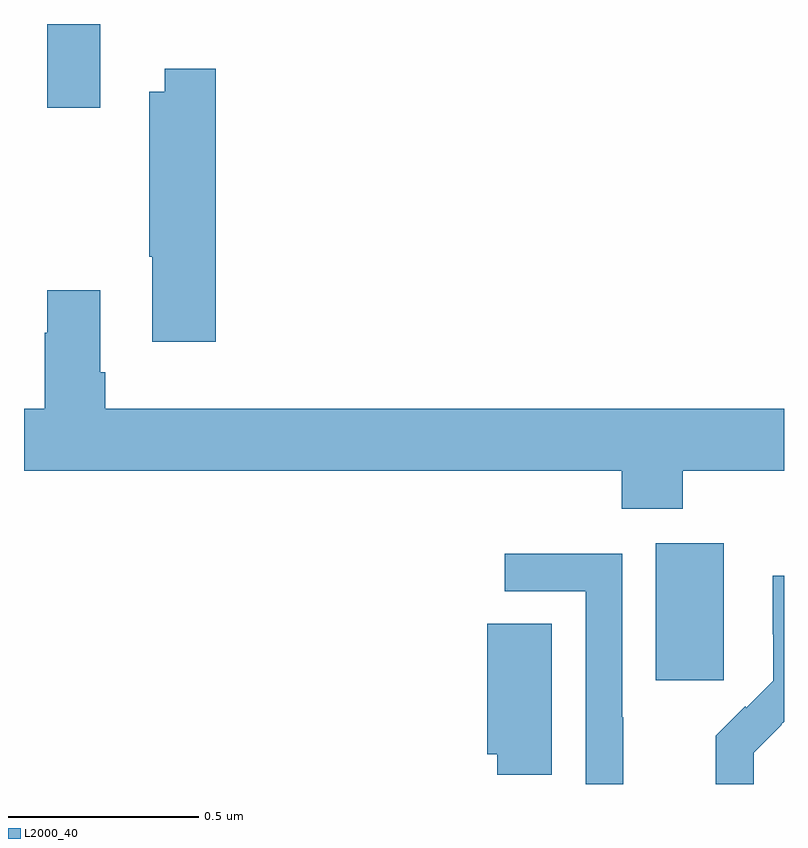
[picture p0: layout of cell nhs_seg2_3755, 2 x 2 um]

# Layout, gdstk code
import gdstk
lib = gdstk.Library(unit=1e-6, precision=1e-09)
def R(c, l, rs):  # rectangles x0, y0, x1, y1
    for r in rs: c.add(gdstk.rectangle(r[:2], r[2:], *l))
def P(c, l, *ps):  # polygons
    for p in ps: c.add(gdstk.Polygon(p, *l))
L2000_40 = (2000, 40)

nhs_seg2_3755 = lib.new_cell('nhs_seg2_3755')
R(nhs_seg2_3755, L2000_40, [(158.663,659.073,158.842,659.434), (157.061,660.579,157.201,660.8)])
P(nhs_seg2_3755, L2000_40, [(157.505,660.682),(157.37,660.682),(157.37,660.622),(157.33,660.622),(157.33,660.187),(157.337,660.187),(157.337,659.964),(157.505,659.964)],
  [(158.733,659.624),(159,659.624),(159,659.788),(157.214,659.788),(157.214,659.884),(157.201,659.884),(157.201,660.1),(157.061,660.1),(157.061,659.987),(157.054,659.987),(157.054,659.788),(157,659.788),(157,659.624),(158.573,659.624),(158.573,659.525),(158.733,659.525)],
  [(158.577,658.976),(158.574,658.976),(158.574,659.406),(158.265,659.406),(158.265,659.307),(158.478,659.307),(158.478,658.8),(158.577,658.8)],
  [(158.92,658.882),(158.994,658.956),(158.993,658.957),(159,658.964),(159,659.348),(158.97,659.348),(158.97,659.194),(158.972,659.194),(158.972,659.072),(158.901,659.001),(158.898,659.004),(158.821,658.927),(158.821,658.8),(158.92,658.8)],
  [(158.389,659.222),(158.219,659.222),(158.219,658.878),(158.246,658.878),(158.246,658.825),(158.389,658.825)])

lib.write_gds('nhs_seg2_3755.gds')
